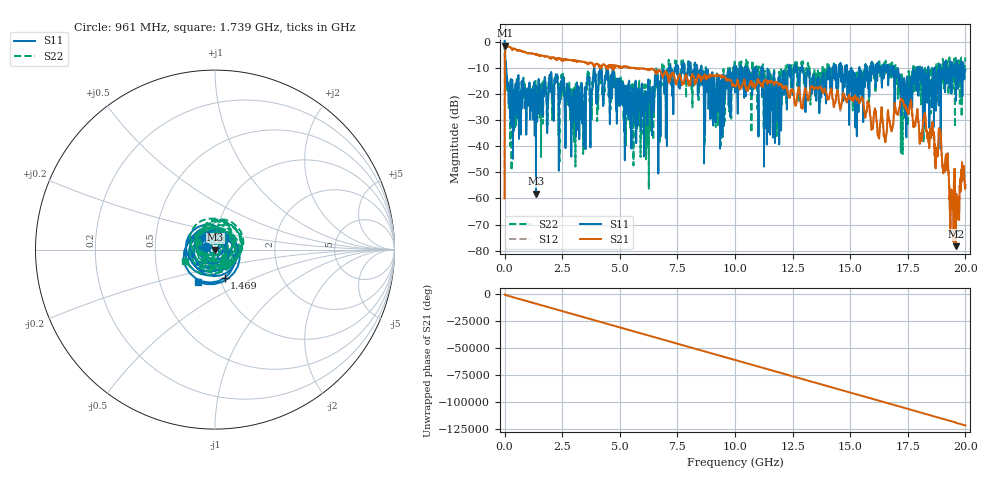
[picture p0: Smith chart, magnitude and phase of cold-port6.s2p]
! MS46122B
! 2250307/22442219
! 2/18/2026 9:32:44 AM
! C:\USERS\SPARKY\DOCUMENTS\VNA_DATA\FEB18_2026\COLD-PORT6.S2P
! CHANNEL.1
! TR.MEASUREMENT
! RAW.DATA
# GHZ S RI R 50.0
! FREQ.GHZ  S11RE  S11IM  S21RE  S21IM  S12RE  S12IM  S22RE  S22IM
!; PortSelection: Port_12
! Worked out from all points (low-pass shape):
!   10001 points, 1 MHz to 20 GHz, reference 50 ohm
!   highest |S21| = -1.65 dB at 33 MHz (marker M1); lowest = -78.3 dB at 19.58 GHz (marker M2)
!   |S21| within 3 dB of the highest: 20.03 MHz to 1.177 GHz (1.157 GHz wide, 193 % of centre); 1.188 GHz to 1.208 GHz (19.52 MHz wide, 1.63 % of centre) (the widest 2 of 3)
!   lowest |S11| = -58.2 dB at 1.361 GHz (marker M3), VSWR 1.00, Z = 50.1 - j0.00274 ohm
!   |S11| at or under -10 dB: 73.13 MHz to 3.878 GHz (3.805 GHz wide, 193 % of centre); 4.437 GHz to 7.121 GHz (2.684 GHz wide, 46.4 % of centre); 8.552 GHz to 9.953 GHz (1.4 GHz wide, 15.1 % of centre) (the widest 3 of 68)
!   |S22| runs from -56.3 to -0.2 dB; largest |S21 - S12| = 0.066
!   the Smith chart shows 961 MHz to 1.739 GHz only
!   S11 on the Smith chart (normalised r, x): 961 MHz: 0.90, +0.03; 1.469 GHz: 1.06, -0.34; 1.739 GHz: 0.78, -0.29
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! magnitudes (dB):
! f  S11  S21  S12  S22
! 1 MHz  0.4  -60.0  -60.0  -0.2
! 33 MHz  -8.9  -1.6  -2.0  -10.2
! 109 MHz  -14.5  -1.8  -1.9  -14.1
! 961 MHz  -25.5  -4.4  -4.3  -21.4
! 1.361 GHz  -58.2  -4.9  -4.8  -29.7
! 1.469 GHz  -15.6  -5.2  -5.2  -22.3
! 1.739 GHz  -13.9  -5.8  -5.8  -15.0
! 3.335 GHz  -17.6  -7.7  -7.8  -17.4
! 4.141 GHz  -10.4  -9.8  -10.0  -11.1
! 5.245 GHz  -19.7  -9.5  -9.5  -27.0
! 6.669 GHz  -29.5  -11.0  -11.0  -32.1
! 7.751 GHz  -11.8  -15.7  -15.8  -7.4
! 9.361 GHz  -20.3  -13.0  -12.9  -34.4
! 10 GHz  -19.0  -17.2  -16.5  -8.6
! 13.33 GHz  -19.9  -17.0  -17.1  -16.3
! 16.67 GHz  -12.0  -29.3  -29.3  -11.5
! 17.26 GHz  -14.3  -22.4  -22.1  -14.2
! 18.24 GHz  -21.2  -27.4  -27.3  -9.8
! 18.89 GHz  -9.3  -34.2  -34.4  -11.5
! 19.39 GHz  -19.1  -58.5  -59.3  -8.5
! 19.58 GHz  -16.7  -78.3  -77.7  -6.3
! 20 GHz  -10.8  -54.9  -55.6  -6.1
